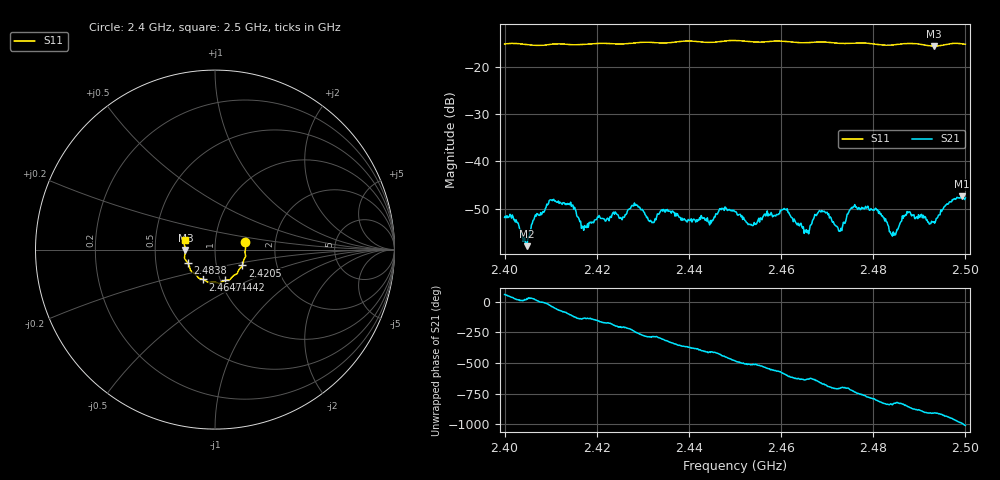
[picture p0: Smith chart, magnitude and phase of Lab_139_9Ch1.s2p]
# Hz S RI R 50
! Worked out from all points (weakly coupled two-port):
!   601 points, 2.4 GHz to 2.5 GHz, reference 50 ohm
!   highest |S21| = -47.40 dB at 2.4992 GHz (marker M1); lowest = -57.9 dB at 2.4048 GHz (marker M2)
!   lowest |S11| = -15.6 dB at 2.4932 GHz (marker M3), VSWR 1.40, Z = 35.8 - j0.165 ohm
!   |S11| at or under -10 dB: start of sweep to end of sweep
!   S12 and S22 are empty: the file has one direction only
!   S11 on the Smith chart (normalised r, x): 2.4 GHz: 1.40, +0.11; 2.4205 GHz: 1.34, -0.24; 2.4442 GHz: 1.05, -0.37; 2.4647 GHz: 0.83, -0.29; 2.4838 GHz: 0.73, -0.11; 2.5 GHz: 0.71, +0.08
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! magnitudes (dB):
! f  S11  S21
! 2.4 GHz  -15.2  -51.8
! 2.4048 GHz  -15.3  -57.9
! 2.4102 GHz  -15.2  -48.2
! 2.4148 GHz  -15.4  -49.2
! 2.4167 GHz  -15.3  -54.1
! 2.4205 GHz  -15.1  -51.4
! 2.4333 GHz  -15.0  -51.2
! 2.4442 GHz  -14.8  -52.8
! 2.45 GHz  -14.4  -50.6
! 2.4535 GHz  -14.7  -53.3
! 2.4608 GHz  -14.6  -50.1
! 2.4647 GHz  -14.9  -54.1
! 2.4667 GHz  -14.9  -53.1
! 2.4693 GHz  -14.8  -50.5
! 2.4728 GHz  -15.1  -54.7
! 2.4758 GHz  -15.0  -49.6
! 2.4833 GHz  -15.5  -53.7
! 2.4838 GHz  -15.4  -55.3
! 2.4875 GHz  -15.1  -50.9
! 2.4932 GHz  -15.6  -52.7
! 2.4992 GHz  -15.1  -47.4
! 2.5 GHz  -15.2  -47.7
